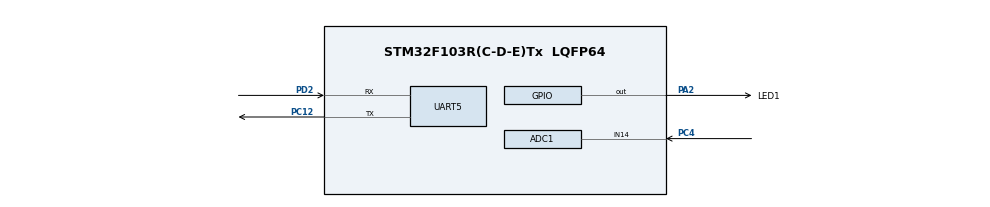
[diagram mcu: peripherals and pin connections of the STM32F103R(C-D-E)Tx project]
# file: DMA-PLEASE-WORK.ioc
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ADC1.Channel-0\#ChannelRegularConversion=ADC_CHANNEL_14
ADC1.NbrOfConversionFlag=1
ADC1.Rank-0\#ChannelRegularConversion=1
ADC1.SamplingTime-0\#ChannelRegularConversion=ADC_SAMPLETIME_1CYCLE_5
ADC1.master=1
Mcu.Family=STM32F1
Mcu.Name=STM32F103R(C-D-E)Tx
Mcu.Package=LQFP64
NVIC.PriorityGroup=NVIC_PRIORITYGROUP_4
PA13.Mode=Serial_Wire
PA13.Signal=SYS_JTMS-SWDIO
PA14.Mode=Serial_Wire
PA14.Signal=SYS_JTCK-SWCLK
PA2.GPIO_Label=LED1
PA2.Signal=GPIO_Output
PC12.Mode=Asynchronous
PC12.Signal=UART5_TX
PC4.Signal=ADCx_IN14
PD2.Mode=Asynchronous
PD2.Signal=UART5_RX
ProjectManager.HeapSize=0x200
ProjectManager.StackSize=0x400
ProjectManager.TargetToolchain=STM32CubeIDE
RCC.APB1Freq_Value=8000000
RCC.APB2Freq_Value=8000000
SH.ADCx_IN14.0=ADC1_IN14,IN14
UART5.VirtualMode=Asynchronous
board=custom

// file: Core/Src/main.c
/* USER CODE BEGIN Header */
/**
  ******************************************************************************
  * @file           : main.c
  * @brief          : Main program body
  ******************************************************************************
  * @attention
  *
  * Copyright (c) 2025 STMicroelectronics.
  * All rights reserved.
  *
  * This software is licensed under terms that can be found in the LICENSE file
  * in the root directory of this software component.
  * If no LICENSE file comes with this software, it is provided AS-IS.
  *
  ******************************************************************************
  */
/* USER CODE END Header */
#include "main.h"

/* USER CODE BEGIN Includes */

#include <stdio.h>
#include <string.h>
#include <math.h>

/* USER CODE END Includes */

ADC_HandleTypeDef hadc1;

UART_HandleTypeDef huart5;

void SystemClock_Config(void);
static void MX_GPIO_Init(void);
static void MX_ADC1_Init(void);
static void MX_UART5_Init(void);
/* USER CODE BEGIN PFP */

#define ADC_BUFFER_LENGTH 50

uint32_t adcBuffer[ADC_BUFFER_LENGTH];

uint32_t adcAveragedValue;

char tx_buff[100];
char rx_buff[100];

// Note that UART_HandleTypeDef and ADC_HandleTypeDef are parameters so that we can change if we use UART1, UART2, etc. or ADC1, ADCx, etc.
void Get_Averaged_ADC_Values(int*, int*, int*);

// Note that UART_HandleTypeDef and ADC_HandleTypeDef are parameters so that we can change if we use UART1, UART2, etc. or ADC1, ADCx, etc.
void Continue_On_UART_Receive(UART_HandleTypeDef);
void Send_ADC_Values_Over_UART(UART_HandleTypeDef, int, int, int);

/* USER CODE END PFP */

int main(void)
{

  /* MCU Configuration--------------------------------------------------------*/

  /* Reset of all peripherals, Initializes the Flash interface and the Systick. */
  HAL_Init();

  /* Configure the system clock */
  SystemClock_Config();

  /* Initialize all configured peripherals */
  MX_GPIO_Init();
  MX_ADC1_Init();
  MX_UART5_Init();
  /* USER CODE BEGIN 2 */

  HAL_ADC_Start_DMA(&hadc1, (uint32_t*)adcBuffer, sizeof(ADC_BUFFER_LENGTH));

  // should length be in bytes or in number of elements?
  // Answer from my expert friend: "It should be in bytes. The HAL_ADC_Start_DMA function takes the address of the buffer and the length of the buffer in bytes. The buffer is an array of 32-bit integers, so the length of the buffer in bytes is 128 * 4 = 512 bytes."
  // lmao i love copilot

  /* USER CODE END 2 */

  /* Infinite loop */
  while (1)
  {

    /* USER CODE BEGIN 3 */

    // This function waits until 's' is received on UART to continue
    // This way, from the Python script we can command the STM32 chip operate only when we tell it to
    Continue_On_UART_Receive(huart5);

	HAL_GPIO_TogglePin(LED1_GPIO_Port, LED1_Pin); // Toggle the LED high when we're collecting or sending values

    int adcValuesAveraged = 0;
    int adcValuesADCAdjusted = 0;
    int adcValuesCurrentAdjusted = 0;
    Get_Averaged_ADC_Values(&adcValuesAveraged, &adcValuesADCAdjusted, &adcValuesCurrentAdjusted);

    Send_ADC_Values_Over_UART(huart5, adcValuesAveraged, adcValuesADCAdjusted, adcValuesCurrentAdjusted);

	HAL_GPIO_TogglePin(LED1_GPIO_Port, LED1_Pin);
  }
  /* USER CODE END 3 */
}

void SystemClock_Config(void)
{
  RCC_OscInitTypeDef RCC_OscInitStruct = {0};
  RCC_ClkInitTypeDef RCC_ClkInitStruct = {0};
  RCC_PeriphCLKInitTypeDef PeriphClkInit = {0};

  /** Initializes the RCC Oscillators according to the specified parameters
  * in the RCC_OscInitTypeDef structure.
  */
  RCC_OscInitStruct.OscillatorType = RCC_OSCILLATORTYPE_HSI;
  RCC_OscInitStruct.HSIState = RCC_HSI_ON;
  RCC_OscInitStruct.HSICalibrationValue = RCC_HSICALIBRATION_DEFAULT;
  RCC_OscInitStruct.PLL.PLLState = RCC_PLL_NONE;
  if (HAL_RCC_OscConfig(&RCC_OscInitStruct) != HAL_OK)
  {
    Error_Handler();
  }

  /** Initializes the CPU, AHB and APB buses clocks
  */
  RCC_ClkInitStruct.ClockType = RCC_CLOCKTYPE_HCLK|RCC_CLOCKTYPE_SYSCLK
                              |RCC_CLOCKTYPE_PCLK1|RCC_CLOCKTYPE_PCLK2;
  RCC_ClkInitStruct.SYSCLKSource = RCC_SYSCLKSOURCE_HSI;
  RCC_ClkInitStruct.AHBCLKDivider = RCC_SYSCLK_DIV1;
  RCC_ClkInitStruct.APB1CLKDivider = RCC_HCLK_DIV1;
  RCC_ClkInitStruct.APB2CLKDivider = RCC_HCLK_DIV1;

  if (HAL_RCC_ClockConfig(&RCC_ClkInitStruct, FLASH_LATENCY_0) != HAL_OK)
  {
    Error_Handler();
  }
  PeriphClkInit.PeriphClockSelection = RCC_PERIPHCLK_ADC;
  PeriphClkInit.AdcClockSelection = RCC_ADCPCLK2_DIV2;
  if (HAL_RCCEx_PeriphCLKConfig(&PeriphClkInit) != HAL_OK)
  {
    Error_Handler();
  }
}

static void MX_ADC1_Init(void)
{

  ADC_ChannelConfTypeDef sConfig = {0};

  /** Common config
  */
  hadc1.Instance = ADC1;
  hadc1.Init.ScanConvMode = ADC_SCAN_DISABLE;
  hadc1.Init.ContinuousConvMode = DISABLE;
  hadc1.Init.DiscontinuousConvMode = DISABLE;
  hadc1.Init.ExternalTrigConv = ADC_SOFTWARE_START;
  hadc1.Init.DataAlign = ADC_DATAALIGN_RIGHT;
  hadc1.Init.NbrOfConversion = 1;
  if (HAL_ADC_Init(&hadc1) != HAL_OK)
  {
    Error_Handler();
  }

  /** Configure Regular Channel
  */
  sConfig.Channel = ADC_CHANNEL_14;
  sConfig.Rank = ADC_REGULAR_RANK_1;
  sConfig.SamplingTime = ADC_SAMPLETIME_1CYCLE_5;
  if (HAL_ADC_ConfigChannel(&hadc1, &sConfig) != HAL_OK)
  {
    Error_Handler();
  }

}

static void MX_UART5_Init(void)
{

  huart5.Instance = UART5;
  huart5.Init.BaudRate = 115200;
  huart5.Init.WordLength = UART_WORDLENGTH_8B;
  huart5.Init.StopBits = UART_STOPBITS_1;
  huart5.Init.Parity = UART_PARITY_NONE;
  huart5.Init.Mode = UART_MODE_TX_RX;
  huart5.Init.HwFlowCtl = UART_HWCONTROL_NONE;
  huart5.Init.OverSampling = UART_OVERSAMPLING_16;
  if (HAL_UART_Init(&huart5) != HAL_OK)
  {
    Error_Handler();
  }

}

static void MX_GPIO_Init(void)
{
  GPIO_InitTypeDef GPIO_InitStruct = {0};

  /* GPIO Ports Clock Enable */
  __HAL_RCC_GPIOA_CLK_ENABLE();
  __HAL_RCC_GPIOC_CLK_ENABLE();
  __HAL_RCC_GPIOD_CLK_ENABLE();

  /*Configure GPIO pin Output Level */
  HAL_GPIO_WritePin(LED1_GPIO_Port, LED1_Pin, GPIO_PIN_RESET);

  /*Configure GPIO pin : LED1_Pin */
  GPIO_InitStruct.Pin = LED1_Pin;
  GPIO_InitStruct.Mode = GPIO_MODE_OUTPUT_PP;
  GPIO_InitStruct.Pull = GPIO_NOPULL;
  GPIO_InitStruct.Speed = GPIO_SPEED_FREQ_LOW;
  HAL_GPIO_Init(LED1_GPIO_Port, &GPIO_InitStruct);

}

/* USER CODE BEGIN 4 */

/**
  * @brief Wait for 's' character to be received over UART to continue the program
  * @param uart: UART_HandleTypeDef object
  * @retval None
  */
void Continue_On_UART_Receive(UART_HandleTypeDef uart){
  // The 's' character here is arbitrary
  // We just pause the program until we see 's\n' received over uart
  memset(rx_buff, 0, sizeof(rx_buff));
  while (rx_buff[0] != 's'){
    memset(rx_buff, 0, sizeof(rx_buff));
    HAL_UART_Receive(&uart, (uint8_t*)rx_buff, sizeof(rx_buff), 1000); // HAL_UART_Receive waits until '\n' to continue the program
    HAL_Delay(1); // Wait a ms because why not
  }
}

/**
  * @brief Send ADC values over UART to the Python script
  * @param uart: UART_HandleTypeDef object
  * @retval None
  */
void Send_ADC_Values_Over_UART(UART_HandleTypeDef uart, int adcValuesAveraged, int adcValuesADCAdjusted, int adcValuesCurrentAdjusted){
  memset(tx_buff, 0, sizeof(tx_buff));
  sprintf(tx_buff, "%d, %d, %d\n\r", adcValuesAveraged, adcValuesADCAdjusted, adcValuesCurrentAdjusted);
  HAL_UART_Transmit(&uart, (uint8_t*)tx_buff, sizeof(tx_buff), 1000);
}

/**
  * @brief Take numSamples ADC values, average them, then return both raw and error adjusted values
  * @param adcValuesAveraged: Pointer to the averaged ADC value
  * @param adcValuesAdjusted: Pointer to the averaged ADC value, adjusted for error
  * @retval None
  */
void Get_Averaged_ADC_Values(int* adcValuesAveraged, int* adcValuesADCAdjusted, int* adcValuesCurrentAdjusted){
  *adcValuesAveraged = adcAveragedValue; // Set the pointer output

  // ADC Error Polynomial: -75.8 + 0.0222x
  // Current Sensor ADC Error Polynomial: 72 - 0.0325x + 19.6 - 8.82E-3x = 91.6 - 0.04132x

  int adcError = -75.8 + 0.0222 * (*adcValuesAveraged); // This is a predetermined error polynomial
  int currentSensorADCError = 91.6 - 0.04132 * (*adcValuesAveraged); // This is the predetermined erroy polynomial for the current sensor

  *adcValuesADCAdjusted = *adcValuesAveraged - adcError; // Set the other pointer output
  *adcValuesCurrentAdjusted = *adcValuesAveraged - adcError - currentSensorADCError; // Set the other pointer output
}

/* USER CODE END 4 */

void Error_Handler(void)
{
  __disable_irq();
  while (1)
  {
  }
}
